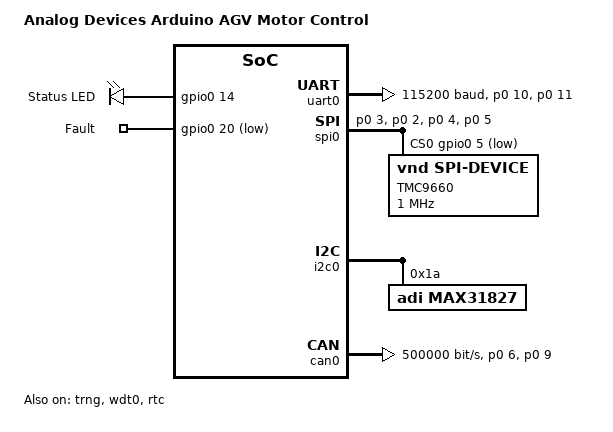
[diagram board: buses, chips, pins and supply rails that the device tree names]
/dts-v1/;

#include <adi/max32/max32662.dtsi>
#include <adi/max32/max32662-pinctrl.dtsi>
#include <zephyr/dt-bindings/gpio/adi-max32-gpio.h>

/ {
    model = "Analog Devices Arduino AGV Motor Control";
    compatible = "adi,ardagvmotor";

    chosen {
        zephyr,console = &uart0;
        zephyr,shell-uart = &uart0;
        zephyr,sram = &sram2;
        zephyr,flash = &flash0;
        zephyr,canbus = &can0;
    };

    leds {
        compatible = "gpio-leds";
        status = "okay";

        led_status: led-status {
            gpios = <&gpio0 14 GPIO_ACTIVE_HIGH>;
            label = "Status LED";
            status = "okay";
        };
        
    };
    
    buttons {
        compatible = "gpio-keys";
        status = "okay";
        
        /* Can also be used as output to flash fault LED. */
        fault: fault {
            gpios = <&gpio0 20 (GPIO_ACTIVE_LOW)>;
            label = "Fault";
            status = "okay";
        };
    };

    aliases {
        /* Compatibility with samples */
        led0 = &led_status;
        watchdog0 = &wdt0;
    };
};

&clk_erfo {
    clock-frequency = < 24576000 >;
};

/* UART0 - debug (A) / TMC (B) UART */
&uart0 {
    pinctrl-0 = <&uart0a_tx_p0_10 &uart0a_rx_p0_11>;
    pinctrl-names = "default";
    current-speed = <115200>;
    data-bits = <8>;
    parity = "none";
    status = "okay";
};

&spi0 {
    status = "okay";
    pinctrl-0 = <&spi0a_copi_p0_3 &spi0a_cito_p0_2 &spi0a_sck_p0_4 &spi0a_ts0_p0_5>;
    pinctrl-names = "default";
    cs-gpios = <&gpio0 5 GPIO_ACTIVE_LOW>;
    
    tmc9660_spi: tmc9660-spi@0 {
        compatible = "vnd,spi-device";
        reg = <0>;
        spi-max-frequency = <1000000>;
        label = "TMC9660";
        status = "okay";
    };
};

&i2c0 {
    status = "okay";

    max31827@1a {
        compatible = "adi,max31827";
        reg = <0x1a>;
        label = "MAX31827";
        status = "okay";
    };
};

&can0 {
    status = "okay";
    pinctrl-0 = <&can0b_rx_p0_6 &can0b_tx_p0_9>;
    pinctrl-names = "default";
    bitrate = <500000>;
    sample-point = <850>;
};

&clk_ipo {
    status = "okay";
};

&dma0 {
    status = "okay";
};

&gpio0 {
    status = "okay";
};

&trng {
    status = "okay";
};

&wdt0 {
    status = "okay";
};

&clk_ertco {
    status = "okay";
};

/* adi-innersource: rtc
   zephyrprojext-rtos: rtc_clock */
&rtc {
    status = "okay";
};
